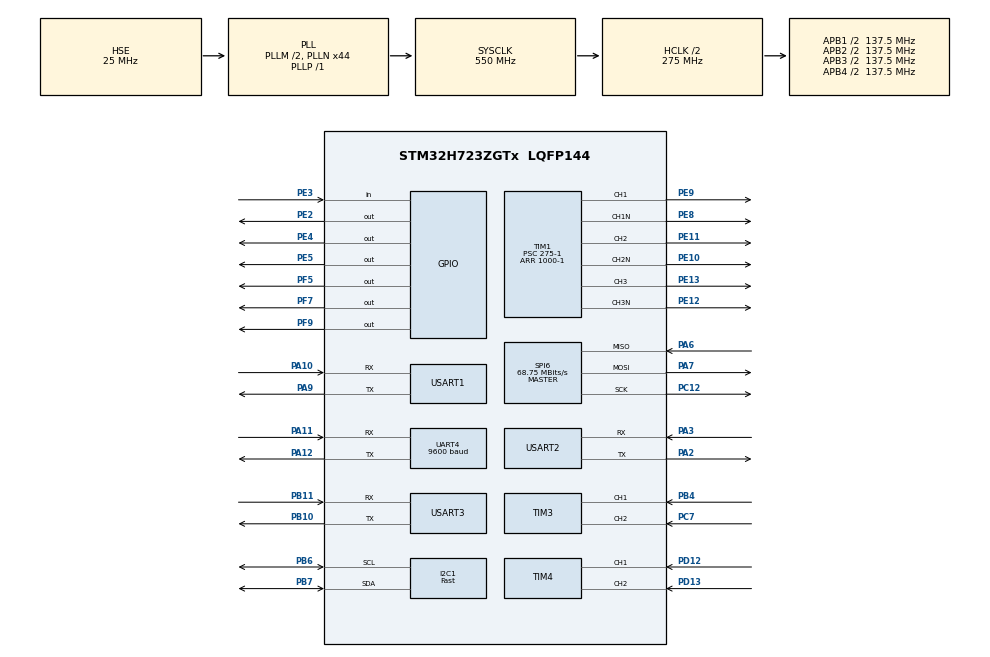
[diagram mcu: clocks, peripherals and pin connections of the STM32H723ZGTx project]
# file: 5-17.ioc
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CORTEX_M7.default_mode_Activation=1
Dma.Request0=USART1_RX
Dma.Request1=USART1_TX
Dma.Request2=UART4_RX
Dma.Request3=UART4_TX
Dma.Request4=USART2_RX
Dma.Request5=USART2_TX
Dma.Request6=USART3_RX
Dma.Request7=USART3_TX
Dma.UART4_RX.2.Direction=DMA_PERIPH_TO_MEMORY
Dma.UART4_RX.2.EventEnable=DISABLE
Dma.UART4_RX.2.FIFOMode=DMA_FIFOMODE_DISABLE
Dma.UART4_RX.2.Instance=DMA1_Stream2
Dma.UART4_RX.2.MemDataAlignment=DMA_MDATAALIGN_BYTE
Dma.UART4_RX.2.MemInc=DMA_MINC_ENABLE
Dma.UART4_RX.2.Mode=DMA_NORMAL
Dma.UART4_RX.2.PeriphDataAlignment=DMA_PDATAALIGN_BYTE
Dma.UART4_RX.2.PeriphInc=DMA_PINC_DISABLE
Dma.UART4_RX.2.Polarity=HAL_DMAMUX_REQ_GEN_RISING
Dma.UART4_RX.2.Priority=DMA_PRIORITY_LOW
Dma.UART4_RX.2.RequestNumber=1
Dma.UART4_RX.2.SignalID=NONE
Dma.UART4_RX.2.SyncEnable=DISABLE
Dma.UART4_RX.2.SyncPolarity=HAL_DMAMUX_SYNC_NO_EVENT
Dma.UART4_RX.2.SyncRequestNumber=1
Dma.UART4_RX.2.SyncSignalID=NONE
Dma.UART4_TX.3.Direction=DMA_MEMORY_TO_PERIPH
Dma.UART4_TX.3.EventEnable=DISABLE
Dma.UART4_TX.3.FIFOMode=DMA_FIFOMODE_DISABLE
Dma.UART4_TX.3.Instance=DMA1_Stream3
Dma.UART4_TX.3.MemDataAlignment=DMA_MDATAALIGN_BYTE
Dma.UART4_TX.3.MemInc=DMA_MINC_ENABLE
Dma.UART4_TX.3.Mode=DMA_NORMAL
Dma.UART4_TX.3.PeriphDataAlignment=DMA_PDATAALIGN_BYTE
Dma.UART4_TX.3.PeriphInc=DMA_PINC_DISABLE
Dma.UART4_TX.3.Polarity=HAL_DMAMUX_REQ_GEN_RISING
Dma.UART4_TX.3.Priority=DMA_PRIORITY_LOW
Dma.UART4_TX.3.RequestNumber=1
Dma.UART4_TX.3.SignalID=NONE
Dma.UART4_TX.3.SyncEnable=DISABLE
Dma.UART4_TX.3.SyncPolarity=HAL_DMAMUX_SYNC_NO_EVENT
Dma.UART4_TX.3.SyncRequestNumber=1
Dma.UART4_TX.3.SyncSignalID=NONE
Dma.USART1_RX.0.Direction=DMA_PERIPH_TO_MEMORY
Dma.USART1_RX.0.EventEnable=DISABLE
Dma.USART1_RX.0.FIFOMode=DMA_FIFOMODE_DISABLE
Dma.USART1_RX.0.Instance=DMA1_Stream0
Dma.USART1_RX.0.MemDataAlignment=DMA_MDATAALIGN_BYTE
Dma.USART1_RX.0.MemInc=DMA_MINC_ENABLE
Dma.USART1_RX.0.Mode=DMA_CIRCULAR
Dma.USART1_RX.0.PeriphDataAlignment=DMA_PDATAALIGN_BYTE
Dma.USART1_RX.0.PeriphInc=DMA_PINC_DISABLE
Dma.USART1_RX.0.Polarity=HAL_DMAMUX_REQ_GEN_RISING
Dma.USART1_RX.0.Priority=DMA_PRIORITY_LOW
Dma.USART1_RX.0.RequestNumber=1
Dma.USART1_RX.0.SignalID=NONE
Dma.USART1_RX.0.SyncEnable=DISABLE
Dma.USART1_RX.0.SyncPolarity=HAL_DMAMUX_SYNC_NO_EVENT
Dma.USART1_RX.0.SyncRequestNumber=1
Dma.USART1_RX.0.SyncSignalID=NONE
Dma.USART1_TX.1.Direction=DMA_MEMORY_TO_PERIPH
Dma.USART1_TX.1.EventEnable=DISABLE
Dma.USART1_TX.1.FIFOMode=DMA_FIFOMODE_DISABLE
Dma.USART1_TX.1.Instance=DMA1_Stream1
Dma.USART1_TX.1.MemDataAlignment=DMA_MDATAALIGN_BYTE
Dma.USART1_TX.1.MemInc=DMA_MINC_ENABLE
Dma.USART1_TX.1.Mode=DMA_NORMAL
Dma.USART1_TX.1.PeriphDataAlignment=DMA_PDATAALIGN_BYTE
Dma.USART1_TX.1.PeriphInc=DMA_PINC_DISABLE
Dma.USART1_TX.1.Polarity=HAL_DMAMUX_REQ_GEN_RISING
Dma.USART1_TX.1.Priority=DMA_PRIORITY_LOW
Dma.USART1_TX.1.RequestNumber=1
Dma.USART1_TX.1.SignalID=NONE
Dma.USART1_TX.1.SyncEnable=DISABLE
Dma.USART1_TX.1.SyncPolarity=HAL_DMAMUX_SYNC_NO_EVENT
Dma.USART1_TX.1.SyncRequestNumber=1
Dma.USART1_TX.1.SyncSignalID=NONE
Dma.USART2_RX.4.Direction=DMA_PERIPH_TO_MEMORY
Dma.USART2_RX.4.EventEnable=DISABLE
Dma.USART2_RX.4.FIFOMode=DMA_FIFOMODE_DISABLE
Dma.USART2_RX.4.Instance=DMA1_Stream4
Dma.USART2_RX.4.MemDataAlignment=DMA_MDATAALIGN_BYTE
Dma.USART2_RX.4.MemInc=DMA_MINC_ENABLE
Dma.USART2_RX.4.Mode=DMA_CIRCULAR
Dma.USART2_RX.4.PeriphDataAlignment=DMA_PDATAALIGN_BYTE
Dma.USART2_RX.4.PeriphInc=DMA_PINC_DISABLE
Dma.USART2_RX.4.Polarity=HAL_DMAMUX_REQ_GEN_RISING
Dma.USART2_RX.4.Priority=DMA_PRIORITY_LOW
Dma.USART2_RX.4.RequestNumber=1
Dma.USART2_RX.4.SignalID=NONE
Dma.USART2_RX.4.SyncEnable=DISABLE
Dma.USART2_RX.4.SyncPolarity=HAL_DMAMUX_SYNC_NO_EVENT
Dma.USART2_RX.4.SyncRequestNumber=1
Dma.USART2_RX.4.SyncSignalID=NONE
Dma.USART2_TX.5.Direction=DMA_MEMORY_TO_PERIPH
Dma.USART2_TX.5.EventEnable=DISABLE
Dma.USART2_TX.5.FIFOMode=DMA_FIFOMODE_DISABLE
Dma.USART2_TX.5.Instance=DMA1_Stream5
Dma.USART2_TX.5.MemDataAlignment=DMA_MDATAALIGN_BYTE
Dma.USART2_TX.5.MemInc=DMA_MINC_ENABLE
Dma.USART2_TX.5.Mode=DMA_NORMAL
Dma.USART2_TX.5.PeriphDataAlignment=DMA_PDATAALIGN_BYTE
Dma.USART2_TX.5.PeriphInc=DMA_PINC_DISABLE
Dma.USART2_TX.5.Polarity=HAL_DMAMUX_REQ_GEN_RISING
Dma.USART2_TX.5.Priority=DMA_PRIORITY_LOW
Dma.USART2_TX.5.RequestNumber=1
Dma.USART2_TX.5.SignalID=NONE
Dma.USART2_TX.5.SyncEnable=DISABLE
Dma.USART2_TX.5.SyncPolarity=HAL_DMAMUX_SYNC_NO_EVENT
Dma.USART2_TX.5.SyncRequestNumber=1
Dma.USART2_TX.5.SyncSignalID=NONE
Dma.USART3_RX.6.Direction=DMA_PERIPH_TO_MEMORY
Dma.USART3_RX.6.EventEnable=DISABLE
Dma.USART3_RX.6.FIFOMode=DMA_FIFOMODE_DISABLE
Dma.USART3_RX.6.Instance=DMA1_Stream6
Dma.USART3_RX.6.MemDataAlignment=DMA_MDATAALIGN_BYTE
Dma.USART3_RX.6.MemInc=DMA_MINC_ENABLE
Dma.USART3_RX.6.Mode=DMA_CIRCULAR
Dma.USART3_RX.6.PeriphDataAlignment=DMA_PDATAALIGN_BYTE
Dma.USART3_RX.6.PeriphInc=DMA_PINC_DISABLE
Dma.USART3_RX.6.Polarity=HAL_DMAMUX_REQ_GEN_RISING
Dma.USART3_RX.6.Priority=DMA_PRIORITY_LOW
Dma.USART3_RX.6.RequestNumber=1
Dma.USART3_RX.6.SignalID=NONE
Dma.USART3_RX.6.SyncEnable=DISABLE
Dma.USART3_RX.6.SyncPolarity=HAL_DMAMUX_SYNC_NO_EVENT
Dma.USART3_RX.6.SyncRequestNumber=1
Dma.USART3_RX.6.SyncSignalID=NONE
Dma.USART3_TX.7.Direction=DMA_MEMORY_TO_PERIPH
Dma.USART3_TX.7.EventEnable=DISABLE
Dma.USART3_TX.7.FIFOMode=DMA_FIFOMODE_DISABLE
Dma.USART3_TX.7.Instance=DMA1_Stream7
Dma.USART3_TX.7.MemDataAlignment=DMA_MDATAALIGN_BYTE
Dma.USART3_TX.7.MemInc=DMA_MINC_ENABLE
Dma.USART3_TX.7.Mode=DMA_NORMAL
Dma.USART3_TX.7.PeriphDataAlignment=DMA_PDATAALIGN_BYTE
Dma.USART3_TX.7.PeriphInc=DMA_PINC_DISABLE
Dma.USART3_TX.7.Polarity=HAL_DMAMUX_REQ_GEN_RISING
Dma.USART3_TX.7.Priority=DMA_PRIORITY_LOW
Dma.USART3_TX.7.RequestNumber=1
Dma.USART3_TX.7.SignalID=NONE
Dma.USART3_TX.7.SyncEnable=DISABLE
Dma.USART3_TX.7.SyncPolarity=HAL_DMAMUX_SYNC_NO_EVENT
Dma.USART3_TX.7.SyncRequestNumber=1
Dma.USART3_TX.7.SyncSignalID=NONE
I2C1.I2C_Speed_Mode=I2C_Fast
I2C1.Timing=0x00D049FB
Mcu.Family=STM32H7
Mcu.Name=STM32H723ZGTx
Mcu.Package=LQFP144
NVIC.DMA1_Stream0_IRQn=true\:0\:0\:false\:false\:true\:false\:true\:true
NVIC.DMA1_Stream1_IRQn=true\:0\:0\:false\:false\:true\:false\:true\:true
NVIC.DMA1_Stream2_IRQn=true\:0\:0\:false\:false\:true\:false\:true\:true
NVIC.DMA1_Stream3_IRQn=true\:0\:0\:false\:false\:true\:false\:true\:true
NVIC.DMA1_Stream4_IRQn=true\:0\:0\:false\:false\:true\:false\:true\:true
NVIC.DMA1_Stream5_IRQn=true\:0\:0\:false\:false\:true\:false\:true\:true
NVIC.DMA1_Stream6_IRQn=true\:0\:0\:false\:false\:true\:false\:true\:true
NVIC.DMA1_Stream7_IRQn=true\:0\:0\:false\:false\:true\:false\:true\:true
NVIC.PriorityGroup=NVIC_PRIORITYGROUP_4
NVIC.TIM2_IRQn=true\:0\:0\:false\:false\:true\:true\:true\:true
NVIC.TIM5_IRQn=true\:0\:0\:false\:false\:true\:true\:true\:true
NVIC.TIM6_DAC_IRQn=true\:0\:0\:false\:false\:true\:true\:true\:true
NVIC.UART4_IRQn=true\:0\:0\:false\:false\:true\:false\:true\:true
NVIC.USART1_IRQn=true\:0\:0\:false\:false\:true\:false\:true\:true
NVIC.USART2_IRQn=true\:0\:0\:false\:false\:true\:false\:true\:true
NVIC.USART3_IRQn=true\:0\:0\:false\:false\:true\:false\:true\:true
PA10.GPIO_Speed=GPIO_SPEED_FREQ_HIGH
PA10.Mode=Asynchronous
PA10.Signal=USART1_RX
PA11.GPIO_Speed=GPIO_SPEED_FREQ_HIGH
PA11.Mode=Asynchronous
PA11.Signal=UART4_RX
PA12.GPIO_Speed=GPIO_SPEED_FREQ_HIGH
PA12.Mode=Asynchronous
PA12.Signal=UART4_TX
PA13(JTMS/SWDIO).Mode=Serial_Wire
PA13(JTMS/SWDIO).Signal=DEBUG_JTMS-SWDIO
PA14(JTCK/SWCLK).Mode=Serial_Wire
PA14(JTCK/SWCLK).Signal=DEBUG_JTCK-SWCLK
PA2.GPIO_Speed=GPIO_SPEED_FREQ_HIGH
PA2.Mode=Asynchronous
PA2.Signal=USART2_TX
PA3.GPIO_Speed=GPIO_SPEED_FREQ_HIGH
PA3.Mode=Asynchronous
PA3.Signal=USART2_RX
PA6.Mode=Full_Duplex_Master
PA6.Signal=SPI6_MISO
PA7.Mode=Full_Duplex_Master
PA7.Signal=SPI6_MOSI
PA9.GPIO_Speed=GPIO_SPEED_FREQ_HIGH
PA9.Mode=Asynchronous
PA9.Signal=USART1_TX
PB10.GPIO_Speed=GPIO_SPEED_FREQ_HIGH
PB10.Mode=Asynchronous
PB10.Signal=USART3_TX
PB11.GPIO_Speed=GPIO_SPEED_FREQ_HIGH
PB11.Mode=Asynchronous
PB11.Signal=USART3_RX
PB4(NJTRST).GPIO_PuPd=GPIO_NOPULL
PB4(NJTRST).GPIO_Speed=GPIO_SPEED_FREQ_VERY_HIGH
PB4(NJTRST).Signal=S_TIM3_CH1
PB6.GPIO_Pu=GPIO_NOPULL
PB6.GPIO_Speed=GPIO_SPEED_FREQ_HIGH
PB6.Mode=I2C
PB6.Signal=I2C1_SCL
PB7.GPIO_Pu=GPIO_NOPULL
PB7.GPIO_Speed=GPIO_SPEED_FREQ_HIGH
PB7.Mode=I2C
PB7.Signal=I2C1_SDA
PC12.Mode=Full_Duplex_Master
PC12.Signal=SPI6_SCK
PC7.GPIO_PuPd=GPIO_NOPULL
PC7.GPIO_Speed=GPIO_SPEED_FREQ_VERY_HIGH
PC7.Signal=S_TIM3_CH2
PD12.GPIO_PuPd=GPIO_NOPULL
PD12.GPIO_Speed=GPIO_SPEED_FREQ_VERY_HIGH
PD12.Signal=S_TIM4_CH1
PD13.GPIO_PuPd=GPIO_NOPULL
PD13.GPIO_Speed=GPIO_SPEED_FREQ_VERY_HIGH
PD13.Signal=S_TIM4_CH2
PE10.Mode=PWM Generation2 CH2 CH2N
PE10.Signal=TIM1_CH2N
PE11.Signal=S_TIM1_CH2
PE12.Mode=PWM Generation3 CH3 CH3N
PE12.Signal=TIM1_CH3N
PE13.Signal=S_TIM1_CH3
PE2.Signal=GPIO_Output
PE3.GPIO_PuPd=GPIO_PULLUP
PE3.Signal=GPIO_Input
PE4.Signal=GPIO_Output
PE5.Signal=GPIO_Output
PE8.Mode=PWM Generation1 CH1 CH1N
PE8.Signal=TIM1_CH1N
PE9.Signal=S_TIM1_CH1
PF5.Signal=GPIO_Output
PF7.Signal=GPIO_Output
PF9.Signal=GPIO_Output
PH0-OSC_IN.Mode=HSE-External-Oscillator
PH0-OSC_IN.Signal=RCC_OSC_IN
PH1-OSC_OUT.Mode=HSE-External-Oscillator
PH1-OSC_OUT.Signal=RCC_OSC_OUT
ProjectManager.HeapSize=0x200
ProjectManager.StackSize=0x400
ProjectManager.TargetToolchain=MDK-ARM V5.32
RCC.ADCFreq_Value=50390625
RCC.APB1Freq_Value=137500000
RCC.APB2Freq_Value=137500000
RCC.APB3Freq_Value=137500000
RCC.APB4Freq_Value=137500000
RCC.CortexFreq_Value=550000000
RCC.D1PPRE=RCC_APB3_DIV2
RCC.D2PPRE1=RCC_APB1_DIV2
RCC.D2PPRE2=RCC_APB2_DIV2
RCC.D3PPRE=RCC_APB4_DIV2
RCC.DIVM1=2
RCC.DIVN1=44
RCC.DIVP1=1
RCC.HCLKFreq_Value=275000000
RCC.HPRE=RCC_HCLK_DIV2
RCC.PLLFRACN=0
RCC.PLLSourceVirtual=RCC_PLLSOURCE_HSE
RCC.SYSCLKFreq_VALUE=550000000
RCC.SYSCLKSource=RCC_SYSCLKSOURCE_PLLCLK
RCC.USBFreq_Value=275000000
SH.S_TIM1_CH1.0=TIM1_CH1,PWM Generation1 CH1 CH1N
SH.S_TIM1_CH2.0=TIM1_CH2,PWM Generation2 CH2 CH2N
SH.S_TIM1_CH3.0=TIM1_CH3,PWM Generation3 CH3 CH3N
SH.S_TIM3_CH1.0=TIM3_CH1,Encoder_Interface
SH.S_TIM3_CH2.0=TIM3_CH2,Encoder_Interface
SH.S_TIM4_CH1.0=TIM4_CH1,Encoder_Interface
SH.S_TIM4_CH2.0=TIM4_CH2,Encoder_Interface
SPI6.CalculateBaudRate=68.75 MBits/s
SPI6.Direction=SPI_DIRECTION_2LINES
SPI6.Mode=SPI_MODE_MASTER
SPI6.VirtualType=VM_MASTER
TIM1.AutoReloadPreload=TIM_AUTORELOAD_PRELOAD_ENABLE
TIM1.AutomaticOutput=TIM_AUTOMATICOUTPUT_ENABLE
TIM1.Break2State=TIM_BREAK2_ENABLE
TIM1.BreakState=TIM_BREAK_ENABLE
TIM1.Channel-PWM\ Generation1\ CH1\ CH1N=TIM_CHANNEL_1
TIM1.Channel-PWM\ Generation2\ CH2\ CH2N=TIM_CHANNEL_2
TIM1.Channel-PWM\ Generation3\ CH3\ CH3N=TIM_CHANNEL_3
TIM1.DeadTime=0x1C
TIM1.OffStateIDLEMode=TIM_OSSI_ENABLE
TIM1.OffStateRunMode=TIM_OSSR_ENABLE
TIM1.Period=1000-1
TIM1.Prescaler=275-1
TIM2.AutoReloadPreload=TIM_AUTORELOAD_PRELOAD_ENABLE
TIM2.Period=100000-1
TIM2.Prescaler=275-1
TIM3.AutoReloadPreload=TIM_AUTORELOAD_PRELOAD_ENABLE
TIM3.EncoderMode=TIM_ENCODERMODE_TI12
TIM3.IC1Filter=5
TIM3.IC2Filter=5
TIM4.AutoReloadPreload=TIM_AUTORELOAD_PRELOAD_ENABLE
TIM4.EncoderMode=TIM_ENCODERMODE_TI12
TIM4.IC1Filter=5
TIM4.IC2Filter=5
TIM5.AutoReloadPreload=TIM_AUTORELOAD_PRELOAD_ENABLE
TIM5.Period=10000-1
TIM5.Prescaler=275-1
TIM6.AutoReloadPreload=TIM_AUTORELOAD_PRELOAD_ENABLE
TIM6.Period=10000-1
TIM6.Prescaler=275-1
UART4.BaudRate=9600
USART1.VirtualMode-Asynchronous=VM_ASYNC
USART2.VirtualMode-Asynchronous=VM_ASYNC
USART3.VirtualMode-Asynchronous=VM_ASYNC
VP_MEMORYMAP_VS_MEMORYMAP.Mode=CurAppReg
VP_TIM1_VS_ClockSourceINT.Mode=Internal
VP_TIM2_VS_ClockSourceINT.Mode=Internal
VP_TIM5_VS_ClockSourceINT.Mode=Internal
VP_TIM6_VS_ClockSourceINT.Mode=Enable_Timer
board=custom

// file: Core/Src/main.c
/* USER CODE BEGIN Header */
/**
  ******************************************************************************
  * @file           : main.c
  * @brief          : Main program body
  ******************************************************************************
  * @attention
  *
  * Copyright (c) 2025 STMicroelectronics.
  * All rights reserved.
  *
  * This software is licensed under terms that can be found in the LICENSE file
  * in the root directory of this software component.
  * If no LICENSE file comes with this software, it is provided AS-IS.
  *
  ******************************************************************************
  */
/* USER CODE END Header */
#include "main.h"
#include "dma.h"
#include "i2c.h"
#include "memorymap.h"
#include "spi.h"
#include "tim.h"
#include "usart.h"
#include "gpio.h"

/* USER CODE BEGIN Includes */
#include "lcd_model.h"
#include "PID.h"
#include "stdio.h"
#include "show.h"
#include "control.h"
#include "servo.h"
#include "Usart.h"
#include "hardware.h"
#include "cascade_control.h"
/* USER CODE END Includes */

/* USER CODE BEGIN PD */
#define RX_BUFFER_SIZE 128
#define TIMER_MAX_COUNT 65535 // 定时器最大计数值（16 位定时器）
#define CAMERA_WIDTH 1920
#define CAMERA_HEIGHT 1080
#define MIN_ANGLE_X 30.0f
#define MAX_ANGLE_X 150.0f
#define MIN_ANGLE_Y 30.0f
#define MAX_ANGLE_Y 150.0f
#define PULSES_PER_REV  (13 * 4 * 28) // 编码器线数13，四倍频，减速比28:1
#define TIME_INTERVAL  0.1f         // 定时器中断时间间隔（单位：秒）100 ms
/* USER CODE END PD */

/* USER CODE BEGIN PV */
uint8_t received_1;
uint8_t received_2;
uint8_t received_3;
uint8_t received_4;
uint8_t received_5;
uint8_t received_6;
uint8_t received_7;
uint8_t received_8;
uint8_t key_value;
uint8_t rx_buffer[RX_BUFFER_SIZE];
uint8_t rx_len = 0;

uint8_t Send_Data[8]={0x00,0x00,0x00,0x00,0x00,0x00,0x00,0x00}; //发送数据数组
float wheel_circumference = 3.14159f * 0.065f; // 单位：米
int32_t position_TIM3 = 0; // 编码器计数位置
int32_t position_TIM4 = 0; // 编码器计数位置
uint16_t prev_count_TIM3 = 0;
uint16_t prev_count_TIM4 = 0;
float RPM_TIM3 = 0.0f;
float RPM_TIM4 = 0.0f;
float position_angle_TIM3 = 0.0f; // 电机1位置累计角度
float position_angle_TIM4 = 0.0f; // 电机2位置累计角度
float speed_TIM3 = 0 ;// 电机1线速度
float speed_TIM4 = 0 ;// 电机2线速度
float s_TIM3 = 0 ; // 电机1位移
float s_TIM4 = 0 ; // 电机2位移

int32_t setposition_TIM3;//右轮目标位置
int32_t setposition_TIM4;//左轮目标位置
float setRPM_TIM3 ; // 右轮目标转速
float setRPM_TIM4 ; // 左轮目标转速
uint8_t flag = 0; // 标志位

PID_Controller panPID;  //X轴PID控制器
PID_Controller tiltPID;  //Y轴PID控制器
CascadePID pid_TIM3 = {0}; // 创建串级PID结构体变量//右轮
CascadePID pid_TIM4 = {0}; //左轮

float target_X = CAMERA_WIDTH / 2;
float target_Y = CAMERA_HEIGHT / 2;
float x,y;
float servo_rotation_value=90.0;//舵机初始角度
float servo_pitch_value=90.0;
uint8_t servo_rotation_direction=1;//舵机转动方向
uint8_t servo_pitch_direction=0;
/* USER CODE END PV */

void SystemClock_Config(void);
static void MPU_Config(void);

int main(void)
{

  /* MPU Configuration--------------------------------------------------------*/
  MPU_Config();

  /* MCU Configuration--------------------------------------------------------*/

  /* Reset of all peripherals, Initializes the Flash interface and the Systick. */
  HAL_Init();

  /* Configure the system clock */
  SystemClock_Config();

  /* Initialize all configured peripherals */
  MX_GPIO_Init();
  MX_DMA_Init();
  MX_I2C1_Init();
  MX_SPI6_Init();
  MX_TIM1_Init();
  MX_TIM2_Init();
  MX_TIM3_Init();
  MX_TIM4_Init();
  MX_TIM5_Init();
  MX_UART4_Init();
  MX_USART1_UART_Init();
  MX_USART2_UART_Init();
  MX_USART3_UART_Init();
  MX_TIM6_Init();
  /* USER CODE BEGIN 2 */

  SPI_LCD_Init();	                      //LCD初始化
  TIM_Init();                           //TIM初始化
  USART_Init();                         //串口初始化
  BUZZER_OFF();
	LASER_OFF();
  STATE(red);                           //状态指示灯初始化
  //test();                             //硬件测试函数
  //example();                          //电机测试函数
  //USART2_Send_Data(Send_Data,8);      //发送数据函数(USART2)

  // 初始化内环参数
  PID_Init_control(&pid_TIM3.inner, 1.8f, 0.06f, 0.05f,  900, 900);
  PID_Init_control(&pid_TIM4.inner, 1.8f, 0.06f, 0.05f,  900, 900);
  // 初始化外环参数
  PID_Init_control(&pid_TIM3.outer, 0.8f, 0.00f, 0.08f,  300, 300);
  PID_Init_control(&pid_TIM4.outer, 0.8f, 0.00f, 0.08f,  300, 300);

//初始化舵机PID
  PID_Init(&panPID,  0.01f, 0.0f, 0.003f);
	PID_Init(&tiltPID, 0.01f, 0.0f, 0.003f);
	PID_SetSetpoint(&panPID,960);     // X设置目标值
	PID_SetSetpoint(&tiltPID,540);    //Y设置目标值
  /* USER CODE END 2 */

  /* Infinite loop */
  while (1)
  {

    /* USER CODE BEGIN 3 */
   LCD_Show();
   KEY_Scan();
   flag = 6; // 获取按键值
   switch (flag)
   {
     case 0:
       STATE(red);
       setposition_TIM3 = 0;//右轮目标位置
       setposition_TIM4 = 0;//左轮目标位置

      break;
     case 1:
       setposition_TIM3 = 5000;//右轮目标位置
       setposition_TIM4 = 5000;//左轮目标位置
       STATE(green);
       HAL_TIM_Base_Start_IT(&htim2);

      break;
      case 2:
      HAL_TIM_Base_Stop_IT(&htim2);
      HAL_TIM_Base_Start_IT(&htim5);
      STATE(blue);
      break;
      case 3:
      setposition_TIM3 = 10000;//右轮目标位置
      setposition_TIM4 = 10000;//左轮目标位置
      LASER_OFF();
      BUZZER_OFF();
      STATE(green);
      HAL_TIM_Base_Stop_IT(&htim5);
      HAL_TIM_Base_Start_IT(&htim2);
      break;
      case 4:
      HAL_TIM_Base_Stop_IT(&htim2);
      HAL_TIM_Base_Start_IT(&htim5);
      STATE(blue);
      break;
      case 5:
      setposition_TIM3 = 0;//右轮目标位置
      setposition_TIM4 = 0;//左轮目标位置
      LASER_OFF();
      BUZZER_OFF();
      STATE(green);
      HAL_TIM_Base_Stop_IT(&htim5);
      HAL_TIM_Base_Start_IT(&htim2);
      break;
      case 6://测试预留接口
      // TIM1_PWM_CH1_SetPWM(300);
      // TIM1_PWM_CH2_SetPWM(300);
      // TIM1_PWM_CH1_SetPWM(-500);
      // TIM1_PWM_CH2_SetPWM(-500);
      // setposition_TIM3 = 15000;//右轮目标位置
      // setposition_TIM4 = 15000;//左轮目标位置
      setRPM_TIM3 = 250 ; // 右轮目标转速
      setRPM_TIM4 = 250 ; // 左轮目标转速
      HAL_TIM_Base_Start_IT(&htim2);
      target_X=Combine(received_1, received_2); // 组合接收到的X轴数据
	    target_Y=Combine(received_3, received_4);
      break;
     default:
     LASER_ON();
     BUZZER_ON();
     STATE(red);
     HAL_TIM_Base_Stop_IT(&htim5);
     HAL_TIM_Base_Stop_IT(&htim2);
      break;
   }
  //  float outerTarget_TIM3   = getTargetPosition(&htim3,setposition_TIM3); // 获取外环目标值
  //  float outerFeedback_TIM3 = getFeedbackPosition(&htim3); // 获取外环反馈值
  //  float innerFeedback_TIM3 = getFeedbackSpeed(&htim3); // 获取内环反馈值

  //  float outerTarget_TIM4   = getTargetPosition(&htim4,setposition_TIM4); //取外环目标值
  //  float outerFeedback_TIM4 = getFeedbackPosition(&htim4); // 获取外环反馈值
  //  float innerFeedback_TIM4 = getFeedbackSpeed(&htim4);// 获取内环反馈值

  //  target_X=received_1;
	//  target_Y=received_2;

  //  x=PID_Compute(&panPID, target_X);
  //  y=PID_Compute(&tiltPID, target_Y);

  //  PID_CascadeCalc(&pid_TIM3, outerTarget_TIM3, outerFeedback_TIM3, innerFeedback_TIM3); // 进行PID计算
  //  PID_CascadeCalc(&pid_TIM4, outerTarget_TIM4, outerFeedback_TIM4, innerFeedback_TIM4); // 进行PID计算
  //  setActuatorOutput(&htim3,pid_TIM3.output);
  //  setActuatorOutput(&htim4,pid_TIM4.output);

  //  if (!servo_rotation_direction)
	// {
  //       x = -x;
  //   }
  //   if (!servo_pitch_direction)
	// {
  //       y = -y;
  //   }
  //   if (MIN_ANGLE_X < servo_rotation_value + x && servo_rotation_value + x < MAX_ANGLE_X)
	// {
  //       servo_rotation_value += x;
	// 	    SendServo_X_PWM(angle_to_pulse(servo_rotation_value) );
  // }
  //   if (MIN_ANGLE_Y < servo_pitch_value + y && servo_pitch_value + y < MAX_ANGLE_Y)
	// {
  //       servo_pitch_value += y;
	// 	    SendServo_Y_PWM(angle_to_pulse(servo_pitch_value) );
  // }
  // if(rx_buffer[0]==0x01)
  // {BUZZER_ON();}
   //HAL_Delay(5);
  }

  /* USER CODE END 3 */
}

void SystemClock_Config(void)
{
  RCC_OscInitTypeDef RCC_OscInitStruct = {0};
  RCC_ClkInitTypeDef RCC_ClkInitStruct = {0};

  /** Supply configuration update enable
  */
  HAL_PWREx_ConfigSupply(PWR_LDO_SUPPLY);

  /** Configure the main internal regulator output voltage
  */
  __HAL_PWR_VOLTAGESCALING_CONFIG(PWR_REGULATOR_VOLTAGE_SCALE0);

  while(!__HAL_PWR_GET_FLAG(PWR_FLAG_VOSRDY)) {}

  /** Initializes the RCC Oscillators according to the specified parameters
  * in the RCC_OscInitTypeDef structure.
  */
  RCC_OscInitStruct.OscillatorType = RCC_OSCILLATORTYPE_HSE;
  RCC_OscInitStruct.HSEState = RCC_HSE_ON;
  RCC_OscInitStruct.PLL.PLLState = RCC_PLL_ON;
  RCC_OscInitStruct.PLL.PLLSource = RCC_PLLSOURCE_HSE;
  RCC_OscInitStruct.PLL.PLLM = 2;
  RCC_OscInitStruct.PLL.PLLN = 44;
  RCC_OscInitStruct.PLL.PLLP = 1;
  RCC_OscInitStruct.PLL.PLLQ = 2;
  RCC_OscInitStruct.PLL.PLLR = 2;
  RCC_OscInitStruct.PLL.PLLRGE = RCC_PLL1VCIRANGE_3;
  RCC_OscInitStruct.PLL.PLLVCOSEL = RCC_PLL1VCOWIDE;
  RCC_OscInitStruct.PLL.PLLFRACN = 0;
  if (HAL_RCC_OscConfig(&RCC_OscInitStruct) != HAL_OK)
  {
    Error_Handler();
  }

  /** Initializes the CPU, AHB and APB buses clocks
  */
  RCC_ClkInitStruct.ClockType = RCC_CLOCKTYPE_HCLK|RCC_CLOCKTYPE_SYSCLK
                              |RCC_CLOCKTYPE_PCLK1|RCC_CLOCKTYPE_PCLK2
                              |RCC_CLOCKTYPE_D3PCLK1|RCC_CLOCKTYPE_D1PCLK1;
  RCC_ClkInitStruct.SYSCLKSource = RCC_SYSCLKSOURCE_PLLCLK;
  RCC_ClkInitStruct.SYSCLKDivider = RCC_SYSCLK_DIV1;
  RCC_ClkInitStruct.AHBCLKDivider = RCC_HCLK_DIV2;
  RCC_ClkInitStruct.APB3CLKDivider = RCC_APB3_DIV2;
  RCC_ClkInitStruct.APB1CLKDivider = RCC_APB1_DIV2;
  RCC_ClkInitStruct.APB2CLKDivider = RCC_APB2_DIV2;
  RCC_ClkInitStruct.APB4CLKDivider = RCC_APB4_DIV2;

  if (HAL_RCC_ClockConfig(&RCC_ClkInitStruct, FLASH_LATENCY_3) != HAL_OK)
  {
    Error_Handler();
  }
}

/* USER CODE BEGIN 4 */
void HAL_TIM_PeriodElapsedCallback(TIM_HandleTypeDef *htim) // 100ms//TIM4为左轮TIM3为右轮
{
    if (htim->Instance == TIM2)
    {
        //uint32_t start = DWT->CYCCNT;
        // 读取当前计数值
        uint16_t current_count_TIM3 = TIM3->CNT;
        uint16_t current_count_TIM4 = TIM4->CNT;
        // 计算计数增量
        int32_t delta_TIM3 = current_count_TIM3 - prev_count_TIM3;
        int32_t delta_TIM4 = current_count_TIM4 - prev_count_TIM4;
        int32_t delra_a = position_TIM3 - setposition_TIM3;
        int32_t delra_b = position_TIM4 - setposition_TIM4;
        if (delta_TIM3 > (TIMER_MAX_COUNT / 2))
        {
            delta_TIM3 -= TIMER_MAX_COUNT + 1;// 发生下溢
        }
        else if (delta_TIM3 < -(TIMER_MAX_COUNT / 2))
        {
            delta_TIM3 += TIMER_MAX_COUNT + 1; // 发生上溢
        }
          if (delta_TIM4 > (TIMER_MAX_COUNT / 2))
        {
            delta_TIM4 -= TIMER_MAX_COUNT + 1;// 发生下溢
        }
        else if (delta_TIM4 < -(TIMER_MAX_COUNT / 2))
        {
            delta_TIM4 += TIMER_MAX_COUNT + 1; // 发生上溢
        }
        // 计算当前位置（单位：脉冲数）
        position_TIM3 += delta_TIM3;
        position_TIM4 += delta_TIM4;
        // 更新上一次计数值
        prev_count_TIM3 = current_count_TIM3;
        prev_count_TIM4 = current_count_TIM4;
        // 计算转速（RPM）
        RPM_TIM3 = (delta_TIM3 / (float)PULSES_PER_REV) * (60.0f / TIME_INTERVAL);
        RPM_TIM4 = (delta_TIM4 / (float)PULSES_PER_REV) * (60.0f / TIME_INTERVAL);
        // 转换为实际位置（单位：角度）
        // position_angle_TIM3 = (position_TIM3 /(float)PULSES_PER_REV) * 360.0f; // 单位：度
        // position_angle_TIM4 = (position_TIM4 /(float)PULSES_PER_REV) * 360.0f; // 单位：度
        // 计算位移变化量（单位：米）
        //float delta_s_TIM3 = (delta_TIM3 / (float)PULSES_PER_REV) * wheel_circumference;
        //float delta_s_TIM4 = (delta_TIM4 / (float)PULSES_PER_REV) * wheel_circumference;
        // 累计位移量（单位：米）
        //s_TIM3 = (position_TIM3 / (float)PULSES_PER_REV) * wheel_circumference;
        //s_TIM4 = (position_TIM4 / (float)PULSES_PER_REV) * wheel_circumference;
        // 计算线速度（单位：米/秒）
        //speed_TIM3 = delta_s_TIM3 / TIME_INTERVAL;
        //speed_TIM4 = delta_s_TIM4 / TIME_INTERVAL;

         float outerTarget_TIM3   = getTargetPosition(&htim3,setposition_TIM3); // 获取外环目标值
         float outerFeedback_TIM3 = getFeedbackPosition(&htim3); // 获取外环反馈值
         //float innerFeedback_TIM3 = getFeedbackSpeed(&htim3); // 获取内环反馈值
         float innerFeedback_TIM3 = getFeedbackRPM(&htim3);

         float outerTarget_TIM4   = getTargetPosition(&htim4,setposition_TIM4); //取外环目标值
         float outerFeedback_TIM4 = getFeedbackPosition(&htim4); // 获取外环反馈值
         //float innerFeedback_TIM4 = getFeedbackSpeed(&htim4);// 获取内环反馈值
         float innerFeedback_TIM4 = getFeedbackRPM(&htim4);

         //PID_CascadeCalc(&pid_TIM3, outerTarget_TIM3, outerFeedback_TIM3, innerFeedback_TIM3); // 进行PID计算
         //PID_CascadeCalc(&pid_TIM4, outerTarget_TIM4, outerFeedback_TIM4, innerFeedback_TIM4); // 进行PID计算
         //setActuatorOutput(&htim3,pid_TIM3.output);
         //setActuatorOutput(&htim4,pid_TIM4.output);
         //printf("TIM3.output: %.2f, TIM4.output: %.2f\r\n", pid_TIM3.output, pid_TIM4.output);

         PID_Calc(&pid_TIM3->inner,setRPM_TIM3, RPM_TIM3);
         PID_Calc(&pid_TIM4->inner,setRPM_TIM4, RPM_TIM4);
         setActuatorOutput(&htim3,pid_TIM3->inner.output);
         setActuatorOutput(&htim4,pid_TIM4->inner.output);
         printf("TIM3.output: %.2f, TIM4.output: %.2f\r\n", pid_TIM3->inner.output, pid_TIM4->inner.output);

        // 输出当前位置
        //printf("Position TIM3: %ld pulses, %.2f degrees\r\n", position_TIM3, position_angle_TIM3);
        //printf("Position TIM4: %ld pulses, %.2f degrees\r\n", position_TIM4, position_angle_TIM4);
        // 输出转速
        //printf("RPM_TIM3: %.2f, RPM_TIM4: %.2f\r\n", RPM_TIM3, RPM_TIM4);
        // 输出位移
        //printf("Displacement TIM3: %.4f m, Displacement TIM4: %.4f m\r\n", s_TIM3, s_TIM4);
        // 输出速度
        //printf("%d,%d,%d,%d\n",setposition_TIM3,position_TIM3,setposition_TIM4,position_TIM4);
        printf("%f,%f,%f,%f\n",setRPM_TIM3,RPM_TIM3,setRPM_TIM4,RPM_TIM4);
        //printf("Speed TIM3: %.4f m/s, Speed TIM4: %.4f m/s\r\n", speed_TIM3, speed_TIM4);
        //uint32_t end = DWT->CYCCNT;
        //printf("Cycles: %lu, Time: %.3f us\n", end-start, (end-start)/(SystemCoreClock/1000000.0f));
        // if(abs(delta_a)<=100&&abs(delta_b)<=100)
        //  {
        //   flag += 1;
        //  }
         if(abs(pid_TIM3.output)<=5&&abs(pid_TIM4.output)<=5)
         {
          flag += 1;
         }
    }
    if (htim->Instance == TIM5)    //10ms
    {
      target_X=Combine(received_1, received_2); // 组合接收到的X轴数据
	    target_Y=Combine(received_3, received_4); // 组合接收到的Y轴数据
      // LASER_ON();
      // BUZZER_ON();
      x=PID_Compute(&panPID, target_X);
      y=PID_Compute(&tiltPID, target_Y);
       if (!servo_rotation_direction)
	{
        x = -x;
    }
    if (!servo_pitch_direction)
	{
        y = -y;
    }
    if (MIN_ANGLE_X < servo_rotation_value + x && servo_rotation_value + x < MAX_ANGLE_X)
	{
        servo_rotation_value += x;
		    SendServo_X_PWM(angle_to_pulse(servo_rotation_value) );
  }
    if (MIN_ANGLE_Y < servo_pitch_value + y && servo_pitch_value + y < MAX_ANGLE_Y)
	{
        servo_pitch_value += y;
		    SendServo_Y_PWM(angle_to_pulse(servo_pitch_value) );
  }
    }

    if (htim->Instance == TIM6)     //10ms
    {
      int16_t delta_x = target_X - 960 ;
      int16_t delta_y = target_Y - 540 ;
       if(abs(delta_x)<=5&&abs(delta_y)<=5)
         {
          LASER_ON();
          BUZZER_ON();
         }
         else
         {
          LASER_OFF();
          BUZZER_OFF();
         }
    }
}
/* USER CODE END 4 */

 /* MPU Configuration */

void MPU_Config(void)
{
  MPU_Region_InitTypeDef MPU_InitStruct = {0};

  /* Disables the MPU */
  HAL_MPU_Disable();

  /** Initializes and configures the Region and the memory to be protected
  */
  MPU_InitStruct.Enable = MPU_REGION_ENABLE;
  MPU_InitStruct.Number = MPU_REGION_NUMBER0;
  MPU_InitStruct.BaseAddress = 0x0;
  MPU_InitStruct.Size = MPU_REGION_SIZE_4GB;
  MPU_InitStruct.SubRegionDisable = 0x87;
  MPU_InitStruct.TypeExtField = MPU_TEX_LEVEL0;
  MPU_InitStruct.AccessPermission = MPU_REGION_NO_ACCESS;
  MPU_InitStruct.DisableExec = MPU_INSTRUCTION_ACCESS_DISABLE;
  MPU_InitStruct.IsShareable = MPU_ACCESS_SHAREABLE;
  MPU_InitStruct.IsCacheable = MPU_ACCESS_NOT_CACHEABLE;
  MPU_InitStruct.IsBufferable = MPU_ACCESS_NOT_BUFFERABLE;

  HAL_MPU_ConfigRegion(&MPU_InitStruct);
  /* Enables the MPU */
  HAL_MPU_Enable(MPU_PRIVILEGED_DEFAULT);

}

void Error_Handler(void)
{
  __disable_irq();
  while (1)
  {
  }
}
